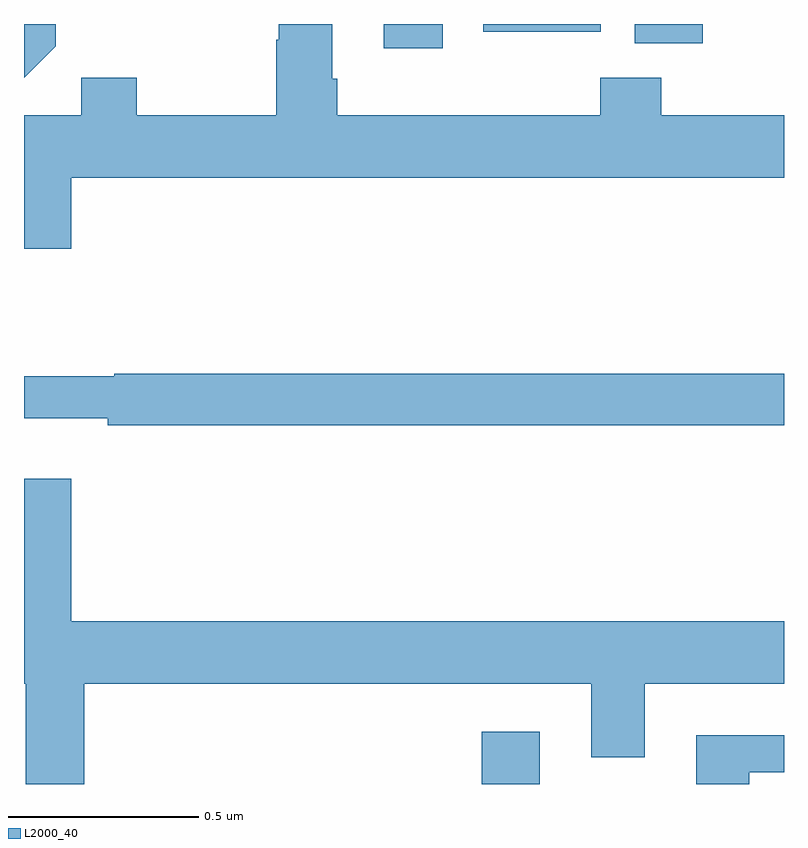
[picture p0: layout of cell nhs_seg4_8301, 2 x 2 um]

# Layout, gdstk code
import gdstk
lib = gdstk.Library(unit=1e-6, precision=1e-09)
def R(c, l, rs):  # rectangles x0, y0, x1, y1
    for r in rs: c.add(gdstk.rectangle(r[:2], r[2:], *l))
def P(c, l, *ps):  # polygons
    for p in ps: c.add(gdstk.Polygon(p, *l))
L2000_40 = (2000, 40)

nhs_seg4_8301 = lib.new_cell('nhs_seg4_8301')
R(nhs_seg4_8301, L2000_40, [(214.205,785.9,214.357,786.037), (213.947,787.836,214.102,787.9), (214.607,787.85,214.786,787.9), (214.209,787.879,214.518,787.9)])
P(nhs_seg4_8301, L2000_40, [(213.124,787.496),(215,787.496),(215,787.66),(214.677,787.66),(214.677,787.759),(214.517,787.759),(214.517,787.66),(213.824,787.66),(213.824,787.756),(213.811,787.756),(213.811,787.9),(213.671,787.9),(213.671,787.859),(213.664,787.859),(213.664,787.66),(213.297,787.66),(213.297,787.759),(213.15,787.759),(213.15,787.66),(213,787.66),(213,787.308),(213.124,787.308)],
  [(213.084,787.842),(213.084,787.9),(213,787.9),(213,787.758)],
  [(215,786.98),(213.238,786.98),(213.238,786.973),(213,786.973),(213,786.863),(213.22,786.863),(213.22,786.844),(215,786.844)],
  [(213.158,786.164),(214.493,786.164),(214.493,785.97),(214.633,785.97),(214.633,786.164),(215,786.164),(215,786.328),(213.124,786.328),(213.124,786.703),(213,786.703),(213,786.164),(213.005,786.164),(213.005,785.9),(213.158,785.9)],
  [(214.909,785.931),(215,785.931),(215,786.028),(214.769,786.028),(214.769,785.9),(214.909,785.9)])

lib.write_gds('nhs_seg4_8301.gds')
